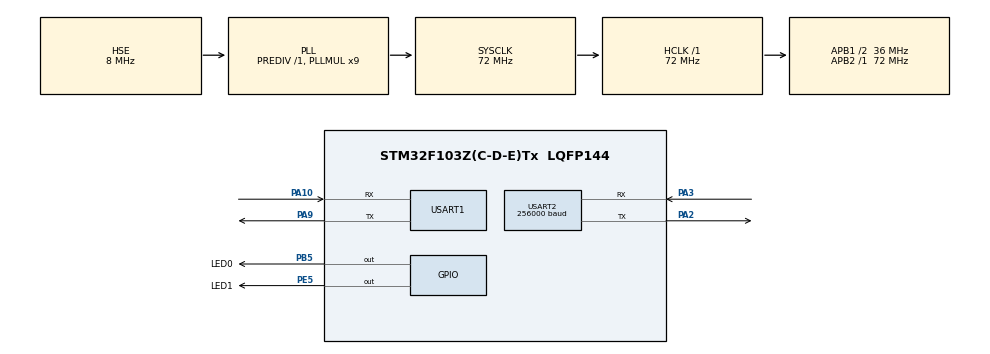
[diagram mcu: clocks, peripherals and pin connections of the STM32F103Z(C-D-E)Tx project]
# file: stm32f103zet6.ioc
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Dma.Request0=USART1_RX
Dma.Request1=USART1_TX
Dma.USART1_RX.0.Direction=DMA_PERIPH_TO_MEMORY
Dma.USART1_RX.0.Instance=DMA1_Channel5
Dma.USART1_RX.0.MemDataAlignment=DMA_MDATAALIGN_BYTE
Dma.USART1_RX.0.MemInc=DMA_MINC_ENABLE
Dma.USART1_RX.0.Mode=DMA_CIRCULAR
Dma.USART1_RX.0.PeriphDataAlignment=DMA_PDATAALIGN_BYTE
Dma.USART1_RX.0.PeriphInc=DMA_PINC_DISABLE
Dma.USART1_RX.0.Priority=DMA_PRIORITY_HIGH
Dma.USART1_TX.1.Direction=DMA_MEMORY_TO_PERIPH
Dma.USART1_TX.1.Instance=DMA1_Channel4
Dma.USART1_TX.1.MemDataAlignment=DMA_MDATAALIGN_BYTE
Dma.USART1_TX.1.MemInc=DMA_MINC_ENABLE
Dma.USART1_TX.1.Mode=DMA_NORMAL
Dma.USART1_TX.1.PeriphDataAlignment=DMA_PDATAALIGN_BYTE
Dma.USART1_TX.1.PeriphInc=DMA_PINC_DISABLE
Dma.USART1_TX.1.Priority=DMA_PRIORITY_MEDIUM
Mcu.Family=STM32F1
Mcu.Name=STM32F103Z(C-D-E)Tx
Mcu.Package=LQFP144
NVIC.DMA1_Channel4_IRQn=true\:0\:0\:false\:false\:true\:false\:true\:true
NVIC.DMA1_Channel5_IRQn=true\:0\:0\:false\:false\:true\:false\:true\:true
NVIC.PriorityGroup=NVIC_PRIORITYGROUP_4
NVIC.USART1_IRQn=true\:1\:0\:true\:false\:true\:true\:true\:true
OSC_IN.Mode=HSE-External-Oscillator
OSC_IN.Signal=RCC_OSC_IN
OSC_OUT.Mode=HSE-External-Oscillator
OSC_OUT.Signal=RCC_OSC_OUT
PA10.Mode=Asynchronous
PA10.Signal=USART1_RX
PA13.Mode=Serial_Wire
PA13.Signal=SYS_JTMS-SWDIO
PA14.Mode=Serial_Wire
PA14.Signal=SYS_JTCK-SWCLK
PA2.Mode=Asynchronous
PA2.Signal=USART2_TX
PA3.Mode=Asynchronous
PA3.Signal=USART2_RX
PA9.Mode=Asynchronous
PA9.Signal=USART1_TX
PB5.GPIO_Label=LED0
PB5.GPIO_ModeDefaultOutputPP=GPIO_MODE_OUTPUT_PP
PB5.GPIO_PuPd=GPIO_PULLDOWN
PB5.GPIO_Speed=GPIO_SPEED_FREQ_MEDIUM
PB5.Signal=GPIO_Output
PE5.GPIO_Label=LED1
PE5.GPIO_PuPd=GPIO_PULLDOWN
PE5.GPIO_Speed=GPIO_SPEED_FREQ_MEDIUM
PE5.Signal=GPIO_Output
ProjectManager.HeapSize=0x200
ProjectManager.StackSize=0x400
ProjectManager.TargetToolchain=STM32CubeIDE
RCC.AHBFreq_Value=72000000
RCC.APB1CLKDivider=RCC_HCLK_DIV2
RCC.APB1Freq_Value=36000000
RCC.APB1TimFreq_Value=72000000
RCC.APB2Freq_Value=72000000
RCC.APB2TimFreq_Value=72000000
RCC.HCLKFreq_Value=72000000
RCC.PLLMUL=RCC_PLL_MUL9
RCC.PLLSourceVirtual=RCC_PLLSOURCE_HSE
RCC.SYSCLKFreq_VALUE=72000000
RCC.SYSCLKSource=RCC_SYSCLKSOURCE_PLLCLK
RCC.USBFreq_Value=72000000
USART1.VirtualMode=VM_ASYNC
USART2.BaudRate=256000
USART2.VirtualMode=VM_ASYNC
board=custom

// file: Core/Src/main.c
/* USER CODE BEGIN Header */
/**
  ******************************************************************************
  * @file           : main.c
  * @brief          : Main program body
  ******************************************************************************
  * @attention
  *
  * Copyright (c) 2025 STMicroelectronics.
  * All rights reserved.
  *
  * This software is licensed under terms that can be found in the LICENSE file
  * in the root directory of this software component.
  * If no LICENSE file comes with this software, it is provided AS-IS.
  *
  ******************************************************************************
  */
/* USER CODE END Header */
#include "main.h"
#include "dma.h"
#include "usart.h"
#include "gpio.h"

/* USER CODE BEGIN Includes */
#include "MultiTimer.h"
#include "retarget_printf.h"
#include "bsp_usart_hal.h"
#include "retarget_printf.h"
#include "jump_boot.h"
/* USER CODE END Includes */

/* USER CODE BEGIN PTD */
MultiTimer gTimer1;
MultiTimer gTimer2;
void Timer1_Callback(MultiTimer *timer, void *userData);
void Timer2_Callback(MultiTimer *timer, void *userData);
static uint64_t SysTick_GetTicks(void)
{
    return HAL_GetTick();
}
/* USER CODE END PTD */

/* USER CODE BEGIN PD */
extern DMA_HandleTypeDef hdma_usart1_rx;
extern DMA_HandleTypeDef hdma_usart1_tx;

//! USART1缓存 RX方向
uint8_t gUsart1RXDMABuffer[2048];
uint8_t gUsart1RXRBBuffer[2048];
//! USART1缓存 TX方向
uint8_t gUsart1TXDMABuffer[2048];
uint8_t gUsart1TXRBBuffer[2048];
//! 实例化Usart1
USART_Driver_t gUsart1Drv = {
    .huart = &huart1,
    .hdma_rx = &hdma_usart1_rx,
    .hdma_tx = &hdma_usart1_tx,
};
/* USER CODE END PD */

void SystemClock_Config(void);

int main(void)
{

  /* MCU Configuration--------------------------------------------------------*/

  /* Reset of all peripherals, Initializes the Flash interface and the Systick. */
  HAL_Init();

  /* Configure the system clock */
  SystemClock_Config();

  /* USER CODE BEGIN SysInit */
  __enable_irq(); //! 使能全局中断
  /* USER CODE END SysInit */

  /* Initialize all configured peripherals */
  MX_GPIO_Init();
  MX_DMA_Init();
  MX_USART1_UART_Init();
  MX_USART2_UART_Init();
  /* USER CODE BEGIN 2 */

  MultiTimerInstall(SysTick_GetTicks); //! 给MultiTimer提供1ms的时间戳
  MultiTimerStart(&gTimer1, 5, Timer1_Callback, NULL);
  MultiTimerStart(&gTimer2, 500, Timer2_Callback, NULL);

  USART_Config(&gUsart1Drv,
               gUsart1RXDMABuffer, gUsart1RXRBBuffer, sizeof(gUsart1RXDMABuffer),
               gUsart1TXDMABuffer, gUsart1TXRBBuffer, sizeof(gUsart1TXDMABuffer));
  /* USER CODE END 2 */

  /* Infinite loop */
  while (1)
  {

    /* USER CODE BEGIN 3 */
    MultiTimerYield(); //! MultiTimer模块运行
  }
  /* USER CODE END 3 */
}

void SystemClock_Config(void)
{
  RCC_OscInitTypeDef RCC_OscInitStruct = {0};
  RCC_ClkInitTypeDef RCC_ClkInitStruct = {0};

  /** Initializes the RCC Oscillators according to the specified parameters
  * in the RCC_OscInitTypeDef structure.
  */
  RCC_OscInitStruct.OscillatorType = RCC_OSCILLATORTYPE_HSE;
  RCC_OscInitStruct.HSEState = RCC_HSE_ON;
  RCC_OscInitStruct.HSEPredivValue = RCC_HSE_PREDIV_DIV1;
  RCC_OscInitStruct.HSIState = RCC_HSI_ON;
  RCC_OscInitStruct.PLL.PLLState = RCC_PLL_ON;
  RCC_OscInitStruct.PLL.PLLSource = RCC_PLLSOURCE_HSE;
  RCC_OscInitStruct.PLL.PLLMUL = RCC_PLL_MUL9;
  if (HAL_RCC_OscConfig(&RCC_OscInitStruct) != HAL_OK)
  {
    Error_Handler();
  }

  /** Initializes the CPU, AHB and APB buses clocks
  */
  RCC_ClkInitStruct.ClockType = RCC_CLOCKTYPE_HCLK|RCC_CLOCKTYPE_SYSCLK
                              |RCC_CLOCKTYPE_PCLK1|RCC_CLOCKTYPE_PCLK2;
  RCC_ClkInitStruct.SYSCLKSource = RCC_SYSCLKSOURCE_PLLCLK;
  RCC_ClkInitStruct.AHBCLKDivider = RCC_SYSCLK_DIV1;
  RCC_ClkInitStruct.APB1CLKDivider = RCC_HCLK_DIV2;
  RCC_ClkInitStruct.APB2CLKDivider = RCC_HCLK_DIV1;

  if (HAL_RCC_ClockConfig(&RCC_ClkInitStruct, FLASH_LATENCY_2) != HAL_OK)
  {
    Error_Handler();
  }
}

/* USER CODE BEGIN 4 */
/**
  * @brief  Timer1定时回调函数
  * @note   主要用于周期性运行USART1模块处理函数，并重新启动定时器，实现周期性调度
  * @param  timer    定时器指针，由MultiTimer库自动传递
  * @param  userData 用户数据指针（本函数未使用，可为NULL）
  * @retval None
  */
void Timer1_Callback(MultiTimer *timer, void *userData)
{
    uint8_t byte;
    // USART1消息发送
    USART_Module_Run(&gUsart1Drv);

    // USART1消息处理
    while(USART_Get_The_Existing_Amount_Of_Data(&gUsart1Drv) > 0) {
        if (USART_Take_A_Piece_Of_Data(&gUsart1Drv, &byte)) {
            //! 解析接收到的数据，判断是否需要跳转到Bootloader
            IAP_Parse_Command(byte);
        }
    }
    // 重新启动定时器（5ms)
    MultiTimerStart(timer, 5, Timer1_Callback, NULL);
}

/**
  * @brief  Timer2定时回调函数
  * @note   主要用于测试串口发送与LED心跳灯切换，并重新启动定时器
  * @param  timer    定时器指针，由MultiTimer库自动传递
  * @param  userData 用户数据指针（本函数未使用，可为NULL）
  * @retval None
  */
void Timer2_Callback(MultiTimer *timer, void *userData)
{
    //! 心跳LED
    HAL_GPIO_TogglePin(LED0_GPIO_Port,LED0_Pin);

    //! 打印RTT log
    printf("App Running.0123456789_App_Version:2025.09.03\r\n");

    //! 重新启动定时器(500ms)
    MultiTimerStart(timer, 500, Timer2_Callback, NULL);
}
/* USER CODE END 4 */

void Error_Handler(void)
{
  __disable_irq();
  while (1)
  {
  }
}
